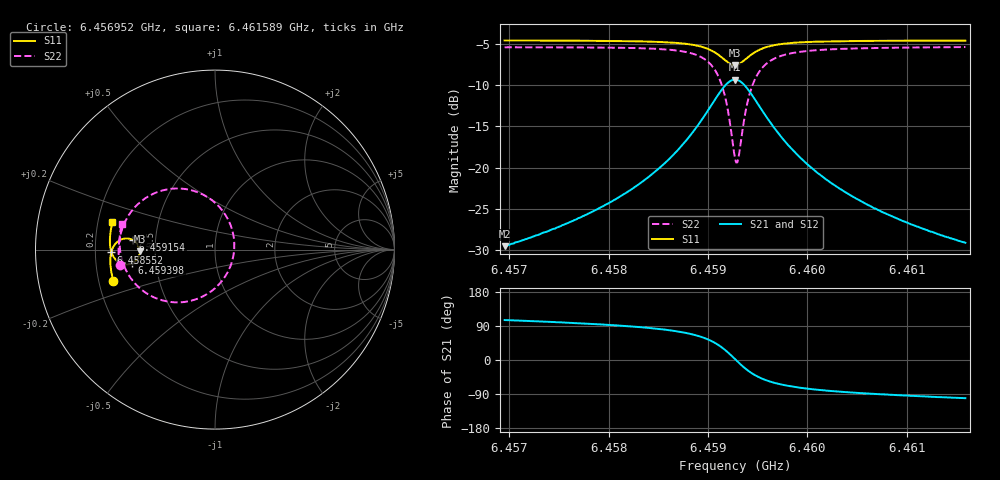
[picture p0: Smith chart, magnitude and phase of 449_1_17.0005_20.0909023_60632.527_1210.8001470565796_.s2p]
#  HZ  S  RI  R  50.00
! Rohde & Schwarz Vector Network Analyzer
! Rohde-Schwarz,ZNB20-2Port,1311601062101988,3.16
! Created: UTC 3/20/2024, 11:12:11 PM
! freq[Hz]  re:S11  im:S11  re:S21  im:S21  re:S12  im:S12  re:S22  im:S22
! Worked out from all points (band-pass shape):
!   401 points, 6.456952 GHz to 6.461589 GHz, reference 50 ohm
!   highest |S21| = -9.30 dB at 6.45927 GHz (marker M1); lowest = -29.6 dB at 6.456952 GHz (marker M2)
!   |S21| within 3 dB of the highest: 6.459039 GHz to 6.459502 GHz (463.6 kHz wide, 0.00718 % of centre)
!   lowest |S11| = -7.5 dB at 6.45927 GHz (marker M3), VSWR 2.45, Z = 20.4 - j0.517 ohm
!   |S11| at or under -10 dB: nowhere
!   |S22| runs from -19.4 to -5.4 dB; largest |S21 - S12| = 0.013
!   S11 on the Smith chart (normalised r, x): 6.456952 GHz: 0.26, -0.14; 6.458552 GHz: 0.27, -0.01; 6.459154 GHz: 0.37, +0.05; 6.459398 GHz: 0.37, -0.07; 6.461589 GHz: 0.26, +0.12
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6.4569516e9  -0.5661 -0.1742  -0.00883 0.0321  -0.00724 0.032  -0.5313 -0.0871
6.4577284e9  -0.5804 -0.1063  -0.00576 0.0499  -0.00329 0.0494  -0.5373 0.00333
6.4581921e9  -0.5835 -0.0597  0.000803 0.0714  0.00428 0.07  -0.528 0.0771
6.4585052e9  -0.5798 -0.0222  0.0137 0.0979  0.0178 0.0952  -0.5044 0.1483
6.4585515e9  -0.5784 -0.0159  0.0171 0.1033  0.0213 0.1004  -0.4982 0.1614
6.4587602e9  -0.5664 0.0158  0.0431 0.1348  0.0472 0.1301  -0.4498 0.2327
6.458911e9  -0.5453 0.0422  0.0854 0.1649  0.0888 0.1583  -0.3715 0.2967
6.4590617e9  -0.4994 0.0618  0.1766 0.1838  0.1776 0.1765  -0.2047 0.3405
6.4591544e9  -0.4553 0.0518  0.2659 0.1532  0.2661 0.1472  -0.0395 0.2909
6.4592008e9  -0.4342 0.0331  0.3093 0.1105  0.3105 0.1053  0.0428 0.2154
6.4592704e9  -0.4195 -0.0104  0.3424 0.0144  0.346 0.0076  0.1074 0.0371
6.459282e9  -0.4199 -0.0184  0.3423 -0.00317  0.346 -0.0107  0.1072 0.00368
6.4593052e9  -0.4233 -0.034  0.3368 -0.0375  0.3405 -0.0465  0.0962 -0.0616
6.4593515e9  -0.4388 -0.0598  0.3084 -0.0971  0.3107 -0.1088  0.0392 -0.1739
6.4593979e9  -0.4607 -0.0759  0.2667 -0.1378  0.266 -0.1509  -0.0449 -0.2482
6.4594907e9  -0.5038 -0.0826  0.1827 -0.1688  0.1767 -0.1802  -0.2122 -0.2941
6.4596414e9  -0.5471 -0.062  0.0955 -0.1552  0.0872 -0.1614  -0.3788 -0.2453
6.4598037e9  -0.5686 -0.0344  0.0511 -0.1273  0.0435 -0.1302  -0.4586 -0.1736
6.4600472e9  -0.5811 0.00104  0.0221 -0.0964  0.0164 -0.0969  -0.5063 -0.0917
6.4603834e9  -0.5856 0.041  0.00656 -0.0704  0.00249 -0.07  -0.5273 -0.015
6.460824e9  -0.5836 0.0851  -0.00143 -0.0515  -0.00423 -0.0506  -0.5317 0.0553
6.4615892e9  -0.5711 0.1528  -0.00652 -0.0343  -0.00815 -0.0332  -0.5202 0.1451
